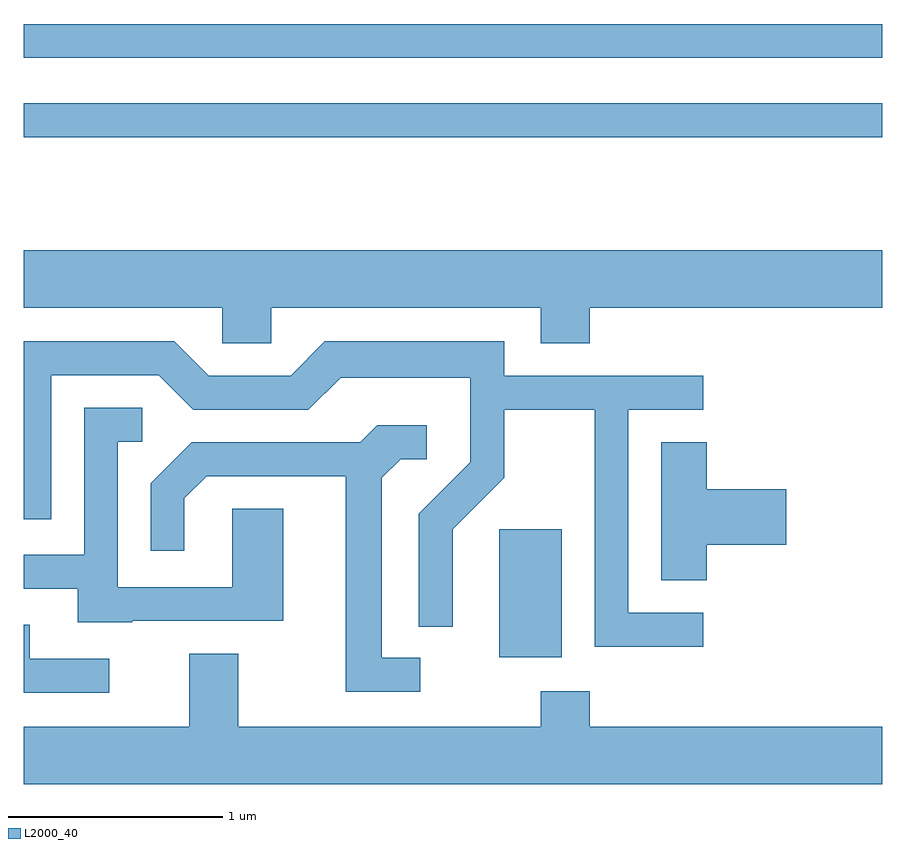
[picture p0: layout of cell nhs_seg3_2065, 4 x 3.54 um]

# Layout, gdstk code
import gdstk
lib = gdstk.Library(unit=1e-6, precision=1e-09)
def R(c, l, rs):  # rectangles x0, y0, x1, y1
    for r in rs: c.add(gdstk.rectangle(r[:2], r[2:], *l))
def P(c, l, *ps):  # polygons
    for p in ps: c.add(gdstk.Polygon(p, *l))
L2000_40 = (2000, 40)

nhs_seg3_2065 = lib.new_cell('nhs_seg3_2065')
R(nhs_seg3_2065, L2000_40, [(247.826,1166.566,248.119,1167.164), (245.611,1168.991,249.611,1169.149), (245.611,1169.361,249.611,1169.519)])
P(nhs_seg3_2065, L2000_40, [(246.764,1168.196),(248.021,1168.196),(248.021,1168.031),(248.249,1168.031),(248.249,1168.196),(249.611,1168.196),(249.611,1168.464),(245.611,1168.464),(245.611,1168.196),(246.536,1168.196),(246.536,1168.031),(246.764,1168.031)],
  [(248.778,1166.774),(248.429,1166.774),(248.429,1167.721),(248.778,1167.721),(248.778,1167.879),(247.849,1167.879),(247.849,1168.039),(247.014,1168.039),(246.854,1167.879),(246.472,1167.879),(246.312,1168.039),(245.611,1168.039),(245.611,1167.211),(245.739,1167.211),(245.739,1167.881),(246.239,1167.881),(246.399,1167.721),(246.937,1167.721),(247.087,1167.871),(247.691,1167.871),(247.691,1167.477),(247.451,1167.237),(247.451,1166.708),(247.609,1166.708),(247.609,1167.164),(247.849,1167.404),(247.849,1167.721),(248.271,1167.721),(248.271,1166.616),(248.778,1166.616)],
  [(246.115,1166.736),(246.819,1166.736),(246.819,1167.259),(246.581,1167.259),(246.581,1166.894),(246.049,1166.894),(246.049,1167.571),(246.163,1167.571),(246.163,1167.729),(245.891,1167.729),(245.891,1167.044),(245.611,1167.044),(245.611,1166.886),(245.861,1166.886),(245.861,1166.731),(246.115,1166.731)],
  [(247.458,1166.564),(247.279,1166.564),(247.279,1167.404),(247.367,1167.491),(247.488,1167.491),(247.488,1167.649),(247.259,1167.649),(247.179,1167.569),(246.394,1167.569),(246.201,1167.377),(246.201,1167.063),(246.359,1167.063),(246.359,1167.309),(246.462,1167.411),(247.111,1167.411),(247.111,1166.406),(247.458,1166.406)],
  [(248.794,1167.091),(249.164,1167.091),(249.164,1167.349),(248.794,1167.349),(248.794,1167.569),(248.581,1167.569),(248.581,1166.926),(248.794,1166.926)],
  [(246.008,1166.559),(245.639,1166.559),(245.639,1166.719),(245.611,1166.719),(245.611,1166.401),(246.008,1166.401)],
  [(249.611,1166.244),(248.249,1166.244),(248.249,1166.409),(248.021,1166.409),(248.021,1166.244),(246.609,1166.244),(246.609,1166.584),(246.381,1166.584),(246.381,1166.244),(245.611,1166.244),(245.611,1165.976),(249.611,1165.976)])

lib.write_gds('nhs_seg3_2065.gds')
